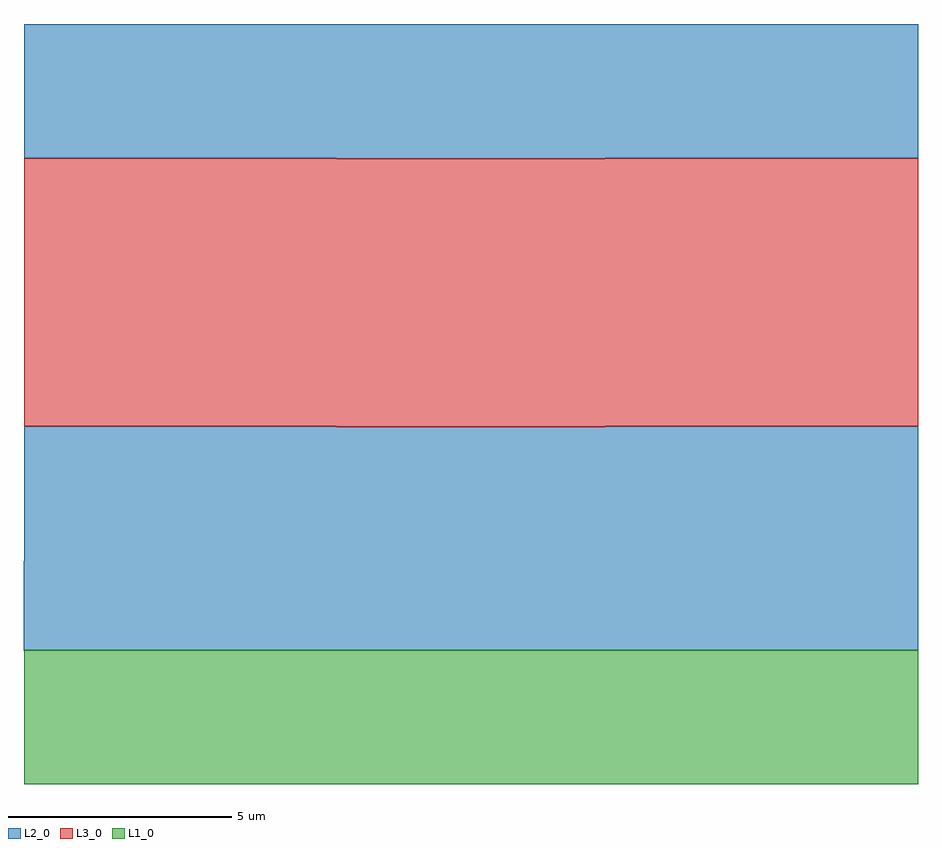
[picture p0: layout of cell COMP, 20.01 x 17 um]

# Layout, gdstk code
import gdstk
lib = gdstk.Library(unit=1e-6, precision=1e-09)
def R(c, l, rs):  # rectangles x0, y0, x1, y1
    for r in rs: c.add(gdstk.rectangle(r[:2], r[2:], *l))
def P(c, l, *ps):  # polygons
    for p in ps: c.add(gdstk.Polygon(p, *l))
L1_0 = (1, 0)
L2_0 = (2, 0)
L3_0 = (3, 0)

wg_comp = lib.new_cell('WG_comp')
R(wg_comp, L1_0, [(-9.99,-1.48,10.01,1.52)])
R(wg_comp, L2_0, [(-3,12.5,3,15.5)])
P(wg_comp, L2_0, [(-10,1.5),(-10,3.5),(-3,3.5),(-3,6.5),(3,6.5),(3,3.5),(10,3.5),(10,2),(10,1.5)])
R(wg_comp, L3_0, [(-3,6.5,3,12.5)])

mmi_comp = lib.new_cell('MMI_comp')
R(mmi_comp, L1_0, [(-10,-1.5,10,1.5)])
R(mmi_comp, L2_0, [(-10,1.5,10,6.5), (-10,12.5,10,15.5)])
R(mmi_comp, L3_0, [(-10,6.5,10,12.5)])

comp = lib.new_cell('COMP')
comp.add(gdstk.Reference(wg_comp, (-0.11,-0.59)))
comp.add(gdstk.Reference(mmi_comp, (-0.1,-0.57)))

lib.write_gds('COMP.gds')
